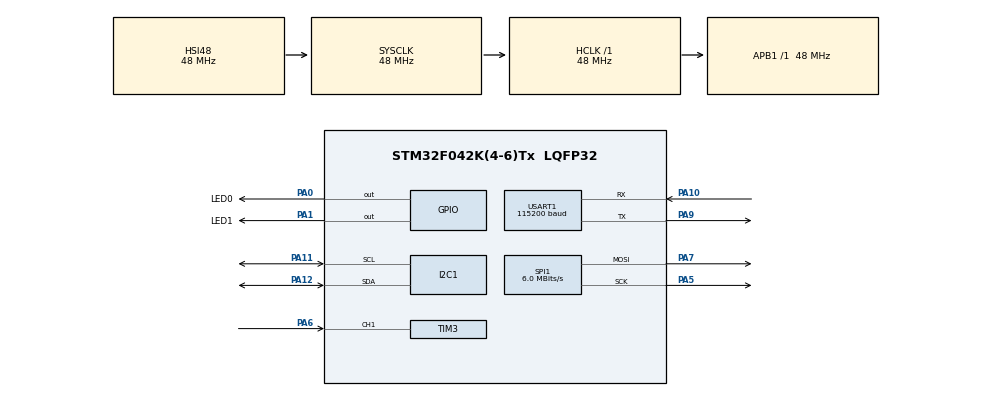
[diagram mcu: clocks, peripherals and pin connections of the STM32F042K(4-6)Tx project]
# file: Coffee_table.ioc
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Mcu.Family=STM32F0
Mcu.Name=STM32F042K(4-6)Tx
Mcu.Package=LQFP32
NVIC.I2C1_IRQn=true\:0\:0\:false\:false\:true\:true\:true
NVIC.SPI1_IRQn=true\:0\:0\:false\:false\:true\:true\:true
NVIC.TIM1_BRK_UP_TRG_COM_IRQn=true\:0\:0\:false\:false\:true\:true\:true
NVIC.TIM1_CC_IRQn=true\:0\:0\:false\:false\:true\:true\:true
NVIC.TIM3_IRQn=true\:0\:0\:false\:false\:true\:true\:true
NVIC.USART1_IRQn=true\:0\:0\:false\:false\:true\:true\:true
PA0.GPIO_Label=LED0
PA0.Signal=GPIO_Output
PA1.GPIO_Label=LED1
PA1.Signal=GPIO_Output
PA10.Mode=Asynchronous
PA10.Signal=USART1_RX
PA11.Mode=I2C
PA11.Signal=I2C1_SCL
PA12.Mode=I2C
PA12.Signal=I2C1_SDA
PA13.Mode=Serial_Wire
PA13.Signal=SYS_SWDIO
PA14.Mode=Serial_Wire
PA14.Signal=SYS_SWCLK
PA5.Mode=TX_Only_Simplex_Unidirect_Master
PA5.Signal=SPI1_SCK
PA6.Signal=S_TIM3_CH1
PA7.Mode=TX_Only_Simplex_Unidirect_Master
PA7.Signal=SPI1_MOSI
PA9.Mode=Asynchronous
PA9.Signal=USART1_TX
ProjectManager.HeapSize=0x200
ProjectManager.StackSize=0x400
ProjectManager.TargetToolchain=STM32CubeIDE
RCC.AHBFreq_Value=48000000
RCC.APB1Freq_Value=48000000
RCC.APB1TimFreq_Value=48000000
RCC.HCLKFreq_Value=48000000
RCC.SYSCLKFreq_VALUE=48000000
RCC.SYSCLKSource=RCC_SYSCLKSOURCE_HSI48
SH.S_TIM3_CH1.0=TIM3_CH1,Input_Capture1_from_TI1
SPI1.BaudRatePrescaler=SPI_BAUDRATEPRESCALER_8
SPI1.CalculateBaudRate=6.0 MBits/s
SPI1.DataSize=SPI_DATASIZE_8BIT
SPI1.Direction=SPI_DIRECTION_2LINES
SPI1.Mode=SPI_MODE_MASTER
SPI1.VirtualType=VM_MASTER
TIM1.AutoReloadPreload=TIM_AUTORELOAD_PRELOAD_ENABLE
TIM1.Period=1000
TIM1.Prescaler=48
TIM3.AutoReloadPreload=TIM_AUTORELOAD_PRELOAD_ENABLE
TIM3.Channel-Input_Capture1_from_TI1=TIM_CHANNEL_1
TIM3.ClockDivision=TIM_CLOCKDIVISION_DIV1
TIM3.ICFilter_CH1=0
TIM3.ICPolarity_CH1=TIM_INPUTCHANNELPOLARITY_RISING
TIM3.Prescaler=4
USART1.BaudRate=115200
USART1.VirtualMode-Asynchronous=VM_ASYNC
VP_TIM1_VS_ClockSourceINT.Mode=Internal
VP_TIM3_VS_ClockSourceINT.Mode=Internal
board=custom

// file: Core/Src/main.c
/* USER CODE BEGIN Header */
/**
  ******************************************************************************
  * @file           : main.c
  * @brief          : Main program body
  ******************************************************************************
  * @attention
  *
  * Copyright (c) 2023 STMicroelectronics.
  * All rights reserved.
  *
  * This software is licensed under terms that can be found in the LICENSE file
  * in the root directory of this software component.
  * If no LICENSE file comes with this software, it is provided AS-IS.
  *
  ******************************************************************************
  */
/* USER CODE END Header */
#include "main.h"

/* USER CODE BEGIN Includes */
#include <stdio.h>

/* USER CODE END Includes */

/* USER CODE BEGIN PD */
#define RED_INDEX 5
#define IDLE 0
#define DONE 1
#define TO_STRING(val) #val
/* USER CODE END PD */

I2C_HandleTypeDef hi2c1;

SPI_HandleTypeDef hspi1;

TIM_HandleTypeDef htim1;
TIM_HandleTypeDef htim3;

UART_HandleTypeDef huart1;

/* USER CODE BEGIN PV */
int mscount = 0;
int person_detect = 0;
char max_red = 255;

char* teststr = "test";
int every_other = 0;
uint32_t Frequency = 0;
uint32_t Duty = 0;
uint8_t over_counter = 0;
uint32_t ticks = 0;
unit32_t T1 = 0;
unit32_t T2 = 0;
uint8_t State = IDLE;
extern unsigned char LED_blue_array[NUM_LEDS];
extern unsigned char LED_green_array[NUM_LEDS];
extern unsigned char LED_red_array[NUM_LEDS];
/* USER CODE END PV */

void SystemClock_Config(void);
static void MX_GPIO_Init(void);
static void MX_I2C1_Init(void);
static void MX_TIM1_Init(void);
static void MX_TIM3_Init(void);
static void MX_USART1_UART_Init(void);
static void MX_SPI1_Init(void);
/* USER CODE BEGIN PFP */
void updateRiver(void);
/* USER CODE END PFP */

/* USER CODE BEGIN 0 */
void transmitString (char * string1){
    HAL_UART_Transmit(&huart1, string1, strlen(string1),0xFFFF);
}

void transmitVar(uint32_t var1){
    char* result[10];
    sprintf(result,"%d",var1);
    transmitString(" : ");
    transmitString(result);
    transmitString("\n");
}
/* USER CODE END 0 */

int main(void)
{

  /* MCU Configuration--------------------------------------------------------*/

  /* Reset of all peripherals, Initializes the Flash interface and the Systick. */
  HAL_Init();

  /* Configure the system clock */
  SystemClock_Config();

  /* Initialize all configured peripherals */
  MX_GPIO_Init();
  MX_I2C1_Init();
  MX_TIM1_Init();
  MX_TIM3_Init();
  MX_USART1_UART_Init();
  MX_SPI1_Init();
  /* USER CODE BEGIN 2 */
  HAL_TIM_Base_Start_IT(&htim1);
  HAL_TIM_Base_Start_IT(&htim3);
  HAL_TIM_IC_Start_IT(&htim3, TIM_CHANNEL_1);   // input capture
  for(uint16_t i = 0; i < NUM_LEDS; i++){
      LED_blue_array[i] = 0;
      LED_green_array[i] = 0;
      LED_red_array[i] = 0;
  }
  //update_LED_String(LED_blue_array,LED_red_array,LED_green_array);
  /* USER CODE END 2 */

  /* Infinite loop */
  while (1)
  {

  }
}

void SystemClock_Config(void)
{
  RCC_OscInitTypeDef RCC_OscInitStruct = {0};
  RCC_ClkInitTypeDef RCC_ClkInitStruct = {0};
  RCC_PeriphCLKInitTypeDef PeriphClkInit = {0};

  /** Initializes the RCC Oscillators according to the specified parameters
  * in the RCC_OscInitTypeDef structure.
  */
  RCC_OscInitStruct.OscillatorType = RCC_OSCILLATORTYPE_HSI|RCC_OSCILLATORTYPE_HSI48;
  RCC_OscInitStruct.HSIState = RCC_HSI_ON;
  RCC_OscInitStruct.HSI48State = RCC_HSI48_ON;
  RCC_OscInitStruct.HSICalibrationValue = RCC_HSICALIBRATION_DEFAULT;
  RCC_OscInitStruct.PLL.PLLState = RCC_PLL_NONE;
  if (HAL_RCC_OscConfig(&RCC_OscInitStruct) != HAL_OK)
  {
    Error_Handler();
  }
  /** Initializes the CPU, AHB and APB buses clocks
  */
  RCC_ClkInitStruct.ClockType = RCC_CLOCKTYPE_HCLK|RCC_CLOCKTYPE_SYSCLK
                              |RCC_CLOCKTYPE_PCLK1;
  RCC_ClkInitStruct.SYSCLKSource = RCC_SYSCLKSOURCE_HSI48;
  RCC_ClkInitStruct.AHBCLKDivider = RCC_SYSCLK_DIV1;
  RCC_ClkInitStruct.APB1CLKDivider = RCC_HCLK_DIV1;

  if (HAL_RCC_ClockConfig(&RCC_ClkInitStruct, FLASH_LATENCY_1) != HAL_OK)
  {
    Error_Handler();
  }
  PeriphClkInit.PeriphClockSelection = RCC_PERIPHCLK_USART1|RCC_PERIPHCLK_I2C1;
  PeriphClkInit.Usart1ClockSelection = RCC_USART1CLKSOURCE_PCLK1;
  PeriphClkInit.I2c1ClockSelection = RCC_I2C1CLKSOURCE_HSI;
  if (HAL_RCCEx_PeriphCLKConfig(&PeriphClkInit) != HAL_OK)
  {
    Error_Handler();
  }
}

static void MX_I2C1_Init(void)
{

  hi2c1.Instance = I2C1;
  hi2c1.Init.Timing = 0x2000090E;
  hi2c1.Init.OwnAddress1 = 0;
  hi2c1.Init.AddressingMode = I2C_ADDRESSINGMODE_7BIT;
  hi2c1.Init.DualAddressMode = I2C_DUALADDRESS_DISABLE;
  hi2c1.Init.OwnAddress2 = 0;
  hi2c1.Init.OwnAddress2Masks = I2C_OA2_NOMASK;
  hi2c1.Init.GeneralCallMode = I2C_GENERALCALL_DISABLE;
  hi2c1.Init.NoStretchMode = I2C_NOSTRETCH_DISABLE;
  if (HAL_I2C_Init(&hi2c1) != HAL_OK)
  {
    Error_Handler();
  }
  /** Configure Analogue filter
  */
  if (HAL_I2CEx_ConfigAnalogFilter(&hi2c1, I2C_ANALOGFILTER_ENABLE) != HAL_OK)
  {
    Error_Handler();
  }
  /** Configure Digital filter
  */
  if (HAL_I2CEx_ConfigDigitalFilter(&hi2c1, 0) != HAL_OK)
  {
    Error_Handler();
  }

}

static void MX_SPI1_Init(void)
{

  /* SPI1 parameter configuration*/
  hspi1.Instance = SPI1;
  hspi1.Init.Mode = SPI_MODE_MASTER;
  hspi1.Init.Direction = SPI_DIRECTION_2LINES;
  hspi1.Init.DataSize = SPI_DATASIZE_8BIT;
  hspi1.Init.CLKPolarity = SPI_POLARITY_LOW;
  hspi1.Init.CLKPhase = SPI_PHASE_1EDGE;
  hspi1.Init.NSS = SPI_NSS_SOFT;
  hspi1.Init.BaudRatePrescaler = SPI_BAUDRATEPRESCALER_8;
  hspi1.Init.FirstBit = SPI_FIRSTBIT_MSB;
  hspi1.Init.TIMode = SPI_TIMODE_DISABLE;
  hspi1.Init.CRCCalculation = SPI_CRCCALCULATION_DISABLE;
  hspi1.Init.CRCPolynomial = 7;
  hspi1.Init.CRCLength = SPI_CRC_LENGTH_DATASIZE;
  hspi1.Init.NSSPMode = SPI_NSS_PULSE_ENABLE;
  if (HAL_SPI_Init(&hspi1) != HAL_OK)
  {
    Error_Handler();
  }

}

static void MX_TIM1_Init(void)
{

  TIM_ClockConfigTypeDef sClockSourceConfig = {0};
  TIM_MasterConfigTypeDef sMasterConfig = {0};

  htim1.Instance = TIM1;
  htim1.Init.Prescaler = 48;
  htim1.Init.CounterMode = TIM_COUNTERMODE_UP;
  htim1.Init.Period = 1000;
  htim1.Init.ClockDivision = TIM_CLOCKDIVISION_DIV1;
  htim1.Init.RepetitionCounter = 0;
  htim1.Init.AutoReloadPreload = TIM_AUTORELOAD_PRELOAD_ENABLE;
  if (HAL_TIM_Base_Init(&htim1) != HAL_OK)
  {
    Error_Handler();
  }
  sClockSourceConfig.ClockSource = TIM_CLOCKSOURCE_INTERNAL;
  if (HAL_TIM_ConfigClockSource(&htim1, &sClockSourceConfig) != HAL_OK)
  {
    Error_Handler();
  }
  sMasterConfig.MasterOutputTrigger = TIM_TRGO_RESET;
  sMasterConfig.MasterSlaveMode = TIM_MASTERSLAVEMODE_DISABLE;
  if (HAL_TIMEx_MasterConfigSynchronization(&htim1, &sMasterConfig) != HAL_OK)
  {
    Error_Handler();
  }

}

static void MX_TIM3_Init(void)
{

  TIM_ClockConfigTypeDef sClockSourceConfig = {0};
  TIM_MasterConfigTypeDef sMasterConfig = {0};
  TIM_IC_InitTypeDef sConfigIC = {0};

  htim3.Instance = TIM3;
  htim3.Init.Prescaler = 4;
  htim3.Init.CounterMode = TIM_COUNTERMODE_UP;
  htim3.Init.Period = 65535;
  htim3.Init.ClockDivision = TIM_CLOCKDIVISION_DIV1;
  htim3.Init.AutoReloadPreload = TIM_AUTORELOAD_PRELOAD_ENABLE;
  if (HAL_TIM_Base_Init(&htim3) != HAL_OK)
  {
    Error_Handler();
  }
  sClockSourceConfig.ClockSource = TIM_CLOCKSOURCE_INTERNAL;
  if (HAL_TIM_ConfigClockSource(&htim3, &sClockSourceConfig) != HAL_OK)
  {
    Error_Handler();
  }
  if (HAL_TIM_IC_Init(&htim3) != HAL_OK)
  {
    Error_Handler();
  }
  sMasterConfig.MasterOutputTrigger = TIM_TRGO_RESET;
  sMasterConfig.MasterSlaveMode = TIM_MASTERSLAVEMODE_DISABLE;
  if (HAL_TIMEx_MasterConfigSynchronization(&htim3, &sMasterConfig) != HAL_OK)
  {
    Error_Handler();
  }
  sConfigIC.ICPolarity = TIM_INPUTCHANNELPOLARITY_RISING;
  sConfigIC.ICSelection = TIM_ICSELECTION_DIRECTTI;
  sConfigIC.ICPrescaler = TIM_ICPSC_DIV1;
  sConfigIC.ICFilter = 0;
  if (HAL_TIM_IC_ConfigChannel(&htim3, &sConfigIC, TIM_CHANNEL_1) != HAL_OK)
  {
    Error_Handler();
  }

}

static void MX_USART1_UART_Init(void)
{

  huart1.Instance = USART1;
  huart1.Init.BaudRate = 115200;
  huart1.Init.WordLength = UART_WORDLENGTH_8B;
  huart1.Init.StopBits = UART_STOPBITS_1;
  huart1.Init.Parity = UART_PARITY_NONE;
  huart1.Init.Mode = UART_MODE_TX_RX;
  huart1.Init.HwFlowCtl = UART_HWCONTROL_NONE;
  huart1.Init.OverSampling = UART_OVERSAMPLING_16;
  huart1.Init.OneBitSampling = UART_ONE_BIT_SAMPLE_DISABLE;
  huart1.AdvancedInit.AdvFeatureInit = UART_ADVFEATURE_NO_INIT;
  if (HAL_UART_Init(&huart1) != HAL_OK)
  {
    Error_Handler();
  }

}

static void MX_GPIO_Init(void)
{
  GPIO_InitTypeDef GPIO_InitStruct = {0};

  /* GPIO Ports Clock Enable */
  __HAL_RCC_GPIOA_CLK_ENABLE();

  /*Configure GPIO pin Output Level */
  HAL_GPIO_WritePin(GPIOA, LED0_Pin|LED1_Pin, GPIO_PIN_RESET);

  /*Configure GPIO pins : LED0_Pin LED1_Pin */
  GPIO_InitStruct.Pin = LED0_Pin|LED1_Pin;
  GPIO_InitStruct.Mode = GPIO_MODE_OUTPUT_PP;
  GPIO_InitStruct.Pull = GPIO_NOPULL;
  GPIO_InitStruct.Speed = GPIO_SPEED_FREQ_LOW;
  HAL_GPIO_Init(GPIOA, &GPIO_InitStruct);

}

/* USER CODE BEGIN 4 */
void HAL_TIM_IC_CaptureCallback(TIM_HandleTypeDef *htim)
{
    if (htim->Instance == TIM3){
        if (htim->Channel == HAL_TIM_ACTIVE_CHANNEL_1)  // If the interrupt is triggered by channel 1
        {
            // Read the IC value
            uint32_t ICValue = HAL_TIM_ReadCapturedValue(htim, TIM_CHANNEL_1);
            Frequency = 0;
            Duty = (HAL_TIM_ReadCapturedValue(htim, TIM_CHANNEL_1) *100)/ICValue;
            if (ICValue != 0)
            {
                Frequency = 48000000/(ICValue+1);
            }
            //transmitVar(ICValue);
            //transmitString(Frequency);
        }
    }
}

void HAL_TIM_PeriodElapsedCallback(TIM_HandleTypeDef *htim)
{
   if(htim->Instance == TIM1){
       //HAL_GPIO_TogglePin(GPIOB, LD2_Pin);
       mscount += 1;
       if(mscount == 1000){
           mscount=0;
           HAL_GPIO_TogglePin(LED0_GPIO_Port, LED0_Pin);
           transmitString(TO_STRING(Frequency));
           transmitVar(Frequency);

       }
   }

}

void updateRiver(void)
{
    extern unsigned char LED_green_array[NUM_LEDS];
    extern unsigned char LED_red_array[NUM_LEDS];
    char temp_array[NUM_LEDS];
    for(int i=0; i<NUM_LEDS; i++){
        int j = i % NUM_LEDS;
        temp_array[j] = LED_green_array[i];
    }
    memcpy(LED_green_array,temp_array,sizeof(temp_array));
    if(person_detect){
        //Set Red index to max brightness, 1/2 it for every index away
        for(int i = 0; i<RED_INDEX; i++){
            LED_red_array[i] = max_red >> (RED_INDEX - (i % RED_INDEX));
        }
        LED_red_array[RED_INDEX] = max_red;
        for(int i = RED_INDEX+1; i<10; i++){
            LED_red_array[i] = max_red >> (i % RED_INDEX);
        }
    }
}
/* USER CODE END 4 */

void Error_Handler(void)
{
  __disable_irq();
  while (1)
  {
  }
}
